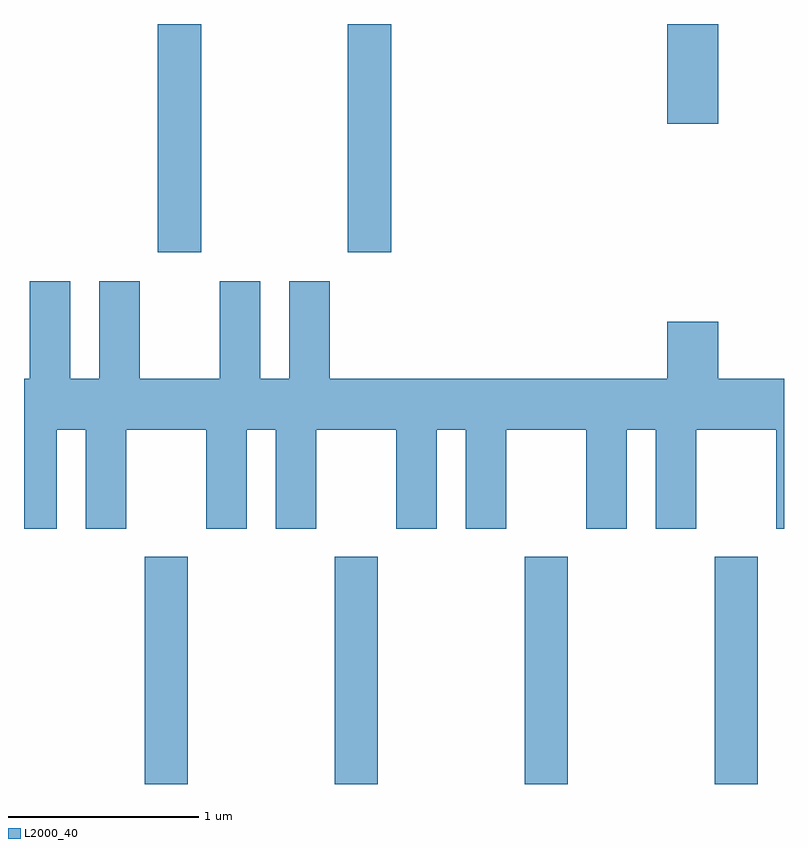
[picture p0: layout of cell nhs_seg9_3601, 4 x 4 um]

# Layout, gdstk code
import gdstk
lib = gdstk.Library(unit=1e-6, precision=1e-09)
def R(c, l, rs):  # rectangles x0, y0, x1, y1
    for r in rs: c.add(gdstk.rectangle(r[:2], r[2:], *l))
def A(c, l, x, y, w, h, nx, ny, dx, dy):  # array of equal rectangles
    R(c, l, [(x+i*dx, y+j*dy, x+i*dx+w, y+j*dy+h) for i in range(nx) for j in range(ny)])
def P(c, l, *ps):  # polygons
    for p in ps: c.add(gdstk.Polygon(p, *l))
L2000_40 = (2000, 40)

nhs_seg9_3601 = lib.new_cell('nhs_seg9_3601')
A(nhs_seg9_3601, L2000_40, 292.246, 1954.432, 0.228, 1.197, 4, 1, 1, 0)
R(nhs_seg9_3601, L2000_40, [(292.316,1957.231,292.544,1958.432), (293.316,1957.231,293.544,1958.432), (294.996,1957.906,295.264,1958.432)])
P(nhs_seg9_3601, L2000_40, [(291.784,1956.296),(291.936,1956.296),(291.936,1955.776),(292.149,1955.776),(292.149,1956.296),(292.571,1956.296),(292.571,1955.776),(292.784,1955.776),(292.784,1956.296),(292.936,1956.296),(292.936,1955.776),(293.149,1955.776),(293.149,1956.296),(293.571,1956.296),(293.571,1955.776),(293.784,1955.776),(293.784,1956.296),(293.936,1956.296),(293.936,1955.776),(294.149,1955.776),(294.149,1956.296),(294.571,1956.296),(294.571,1955.776),(294.784,1955.776),(294.784,1956.296),(294.936,1956.296),(294.936,1955.776),(295.149,1955.776),(295.149,1956.296),(295.571,1956.296),(295.571,1955.776),(295.611,1955.776),(295.611,1956.564),(295.264,1956.564),(295.264,1956.864),(294.996,1956.864),(294.996,1956.564),(293.219,1956.564),(293.219,1957.079),(293.006,1957.079),(293.006,1956.564),(292.854,1956.564),(292.854,1957.079),(292.641,1957.079),(292.641,1956.564),(292.219,1956.564),(292.219,1957.079),(292.006,1957.079),(292.006,1956.564),(291.854,1956.564),(291.854,1957.079),(291.641,1957.079),(291.641,1956.564),(291.611,1956.564),(291.611,1955.776),(291.784,1955.776)])

lib.write_gds('nhs_seg9_3601.gds')
